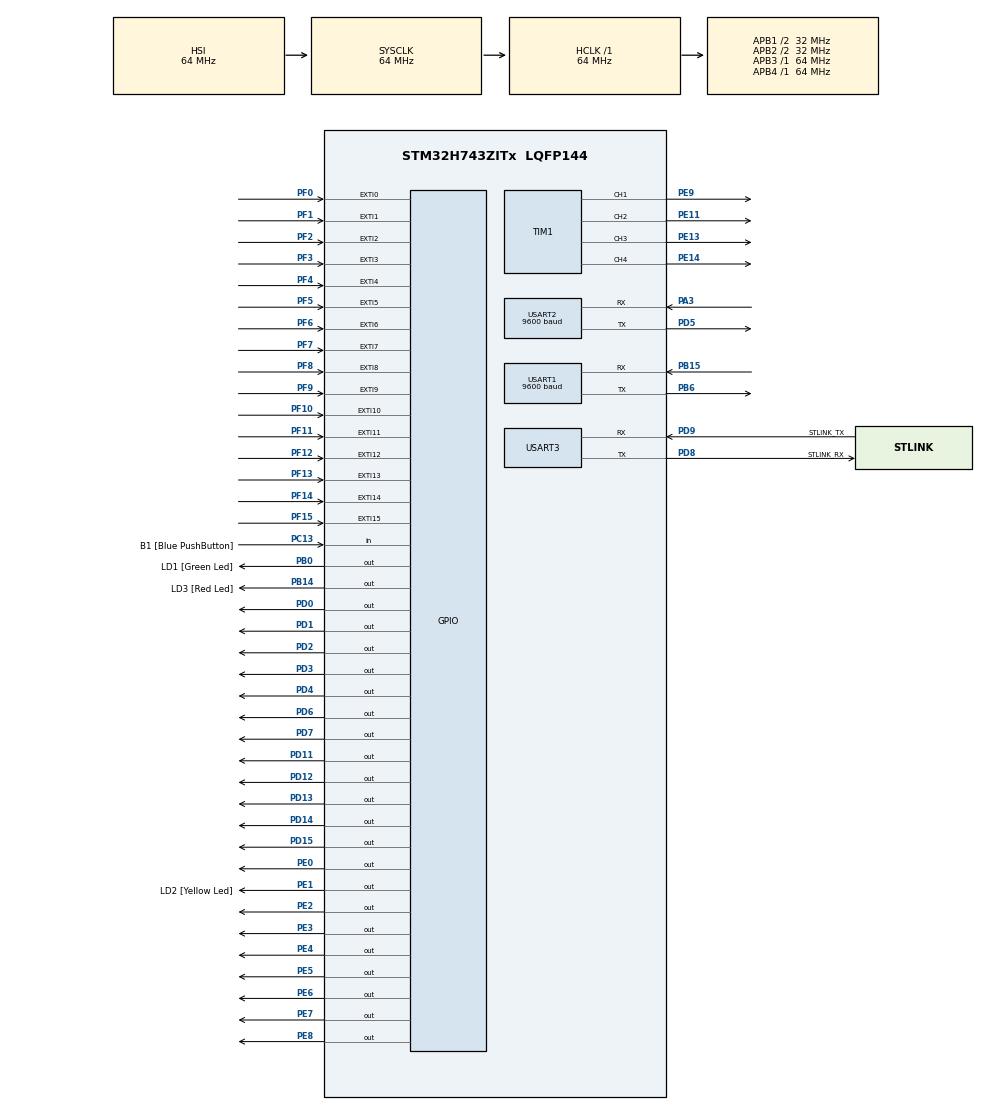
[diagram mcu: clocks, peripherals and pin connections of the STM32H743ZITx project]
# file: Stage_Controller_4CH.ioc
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Mcu.Family=STM32H7
Mcu.Name=STM32H743ZITx
Mcu.Package=LQFP144
NVIC.EXTI0_IRQn=true\:0\:0\:false\:false\:true\:true\:true\:true
NVIC.EXTI15_10_IRQn=true\:0\:0\:true\:false\:true\:true\:true\:true
NVIC.EXTI1_IRQn=true\:0\:0\:true\:false\:true\:true\:true\:true
NVIC.EXTI2_IRQn=true\:0\:0\:false\:false\:true\:true\:true\:true
NVIC.EXTI3_IRQn=true\:0\:0\:false\:false\:true\:true\:true\:true
NVIC.EXTI4_IRQn=true\:0\:0\:false\:false\:true\:true\:true\:true
NVIC.EXTI9_5_IRQn=true\:0\:0\:false\:false\:true\:true\:true\:true
NVIC.PriorityGroup=NVIC_PRIORITYGROUP_4
NVIC.TIM1_CC_IRQn=true\:1\:0\:true\:false\:true\:true\:true\:true
NVIC.USART1_IRQn=true\:13\:0\:true\:false\:true\:true\:true\:true
NVIC.USART2_IRQn=true\:14\:0\:true\:false\:true\:true\:true\:true
NVIC.USART3_IRQn=true\:15\:0\:true\:false\:true\:true\:true\:true
PA1.Signal=ETH_REF_CLK
PA13\ (JTMS/SWDIO).GPIO_Label=JTMS
PA13\ (JTMS/SWDIO).Signal=DEBUG_JTMS-SWDIO
PA14\ (JTCK/SWCLK).GPIO_Label=JTCK
PA14\ (JTCK/SWCLK).Signal=DEBUG_JTCK-SWCLK
PA2.Signal=ETH_MDIO
PA3.GPIO_PuPd=GPIO_PULLUP
PA3.GPIO_Speed=GPIO_SPEED_FREQ_VERY_HIGH
PA3.Mode=Asynchronous
PA3.Signal=USART2_RX
PA7.Signal=ETH_CRS_DV
PB0.GPIO_Label=LD1 [Green Led]
PB0.Signal=GPIO_Output
PB13.Signal=ETH_TXD1
PB14.GPIO_Label=LD3 [Red Led]
PB14.Signal=GPIO_Output
PB15.GPIO_PuPd=GPIO_PULLUP
PB15.GPIO_Speed=GPIO_SPEED_FREQ_VERY_HIGH
PB15.Mode=Asynchronous
PB15.Signal=USART1_RX
PB6.GPIO_FM6=SYSCFG_PMCR_I2C_PB6_FMP
PB6.GPIO_PuPd=GPIO_PULLUP
PB6.GPIO_Speed=GPIO_SPEED_FREQ_VERY_HIGH
PB6.Mode=Asynchronous
PB6.Signal=USART1_TX
PC1.Signal=ETH_MDC
PC13.GPIO_Label=B1 [Blue PushButton]
PC13.Signal=GPIO_Input
PC14-OSC32_IN\ (OSC32_IN).Signal=RCC_OSC32_IN
PC15-OSC32_OUT\ (OSC32_OUT).Signal=RCC_OSC32_OUT
PC4.Signal=ETH_RXD0
PC5.Signal=ETH_RXD1
PD0.GPIO_PuPd=GPIO_PULLDOWN
PD0.Signal=GPIO_Output
PD1.GPIO_PuPd=GPIO_PULLDOWN
PD1.Signal=GPIO_Output
PD11.Signal=GPIO_Output
PD12.Signal=GPIO_Output
PD13.Signal=GPIO_Output
PD14.Signal=GPIO_Output
PD15.Signal=GPIO_Output
PD2.GPIO_PuPd=GPIO_PULLDOWN
PD2.Signal=GPIO_Output
PD3.GPIO_PuPd=GPIO_PULLDOWN
PD3.Signal=GPIO_Output
PD4.Signal=GPIO_Output
PD5.GPIO_PuPd=GPIO_PULLUP
PD5.GPIO_Speed=GPIO_SPEED_FREQ_VERY_HIGH
PD5.Mode=Asynchronous
PD5.Signal=USART2_TX
PD6.Signal=GPIO_Output
PD7.Signal=GPIO_Output
PD8.GPIO_Label=STLINK_RX
PD8.GPIO_PuPd=GPIO_PULLUP
PD8.GPIO_Speed=GPIO_SPEED_FREQ_VERY_HIGH
PD8.Mode=Asynchronous
PD8.Signal=USART3_TX
PD9.GPIO_Label=STLINK_TX
PD9.GPIO_PuPd=GPIO_PULLUP
PD9.GPIO_Speed=GPIO_SPEED_FREQ_VERY_HIGH
PD9.Mode=Asynchronous
PD9.Signal=USART3_RX
PE0.Signal=GPIO_Output
PE1.GPIO_Label=LD2 [Yellow Led]
PE1.Signal=GPIO_Output
PE11.Signal=S_TIM1_CH2
PE13.Signal=S_TIM1_CH3
PE14.Signal=S_TIM1_CH4
PE2.Signal=GPIO_Output
PE3.Signal=GPIO_Output
PE4.Signal=GPIO_Output
PE5.Signal=GPIO_Output
PE6.Signal=GPIO_Output
PE7.Signal=GPIO_Output
PE8.Signal=GPIO_Output
PE9.Signal=S_TIM1_CH1
PF0.GPIO_ModeDefaultEXTI=GPIO_MODE_IT_FALLING
PF0.GPIO_PuPd=GPIO_PULLUP
PF0.Signal=GPXTI0
PF1.GPIO_ModeDefaultEXTI=GPIO_MODE_IT_FALLING
PF1.GPIO_PuPd=GPIO_PULLUP
PF1.Signal=GPXTI1
PF10.GPIO_PuPd=GPIO_PULLUP
PF10.Signal=GPXTI10
PF11.GPIO_PuPd=GPIO_PULLUP
PF11.Signal=GPXTI11
PF12.GPIO_PuPd=GPIO_PULLUP
PF12.Signal=GPXTI12
PF13.GPIO_PuPd=GPIO_PULLUP
PF13.Signal=GPXTI13
PF14.GPIO_PuPd=GPIO_PULLUP
PF14.Signal=GPXTI14
PF15.GPIO_PuPd=GPIO_PULLUP
PF15.Signal=GPXTI15
PF2.GPIO_ModeDefaultEXTI=GPIO_MODE_IT_FALLING
PF2.GPIO_PuPd=GPIO_PULLUP
PF2.Signal=GPXTI2
PF3.GPIO_ModeDefaultEXTI=GPIO_MODE_IT_FALLING
PF3.GPIO_PuPd=GPIO_PULLUP
PF3.Signal=GPXTI3
PF4.GPIO_PuPd=GPIO_PULLUP
PF4.Signal=GPXTI4
PF5.GPIO_PuPd=GPIO_PULLUP
PF5.Signal=GPXTI5
PF6.GPIO_PuPd=GPIO_PULLUP
PF6.Signal=GPXTI6
PF7.GPIO_PuPd=GPIO_PULLUP
PF7.Signal=GPXTI7
PF8.GPIO_PuPd=GPIO_PULLUP
PF8.Signal=GPXTI8
PF9.GPIO_PuPd=GPIO_PULLUP
PF9.Signal=GPXTI9
PG11.Signal=ETH_TX_EN
PG13.Signal=ETH_TXD0
PH0-OSC_IN\ (PH0).Signal=RCC_OSC_IN
PH1-OSC_OUT\ (PH1).Signal=RCC_OSC_OUT
ProjectManager.HeapSize=0x200
ProjectManager.StackSize=0x400
ProjectManager.TargetToolchain=STM32CubeIDE
RCC.ADCFreq_Value=129000000
RCC.APB1Freq_Value=32000000
RCC.APB2Freq_Value=32000000
RCC.APB3Freq_Value=64000000
RCC.APB4Freq_Value=64000000
RCC.CortexFreq_Value=64000000
RCC.D2PPRE1=RCC_APB1_DIV2
RCC.D2PPRE2=RCC_APB2_DIV2
RCC.HCLKFreq_Value=64000000
RCC.SYSCLKFreq_VALUE=64000000
RCC.USBFreq_Value=129000000
SH.S_TIM1_CH1.0=TIM1_CH1,Output Compare1 CH1
SH.S_TIM1_CH2.0=TIM1_CH2,Output Compare2 CH2
SH.S_TIM1_CH3.0=TIM1_CH3,Output Compare3 CH3
SH.S_TIM1_CH4.0=TIM1_CH4,Output Compare4 CH4
TIM1.Channel-Output\ Compare1\ CH1=TIM_CHANNEL_1
TIM1.Channel-Output\ Compare2\ CH2=TIM_CHANNEL_2
TIM1.Channel-Output\ Compare3\ CH3=TIM_CHANNEL_3
TIM1.Channel-Output\ Compare4\ CH4=TIM_CHANNEL_4
TIM1.OCMode_1=TIM_OCMODE_TOGGLE
TIM1.OCMode_2=TIM_OCMODE_TOGGLE
TIM1.OCMode_3=TIM_OCMODE_TOGGLE
TIM1.OCMode_4=TIM_OCMODE_TOGGLE
TIM5.CounterMode=TIM_COUNTERMODE_DOWN
USART1.BaudRate=9600
USART1.VirtualMode-Asynchronous=VM_ASYNC
USART2.BaudRate=9600
USART2.VirtualMode-Asynchronous=VM_ASYNC
USART3.VirtualMode-Asynchronous=VM_ASYNC
VP_TIM1_VS_ClockSourceINT.Mode=Internal
VP_TIM5_VS_ClockSourceINT.Mode=Internal
board=NUCLEO-H743ZI2

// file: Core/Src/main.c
/* USER CODE BEGIN Header */
/**
  ******************************************************************************
  * @file           : main.c
  * @brief          : Main program body
  ******************************************************************************
  * @attention
  *
  * Copyright (c) 2023 STMicroelectronics.
  * All rights reserved.
  *
  * This software is licensed under terms that can be found in the LICENSE file
  * in the root directory of this software component.
  * If no LICENSE file comes with this software, it is provided AS-IS.
  *
  ******************************************************************************
  */
/* USER CODE END Header */
#include "main.h"

/* USER CODE BEGIN Includes */
#include <stdio.h>

/* USER CODE END Includes */

TIM_HandleTypeDef htim1;
TIM_HandleTypeDef htim5;

UART_HandleTypeDef huart1;
UART_HandleTypeDef huart2;
UART_HandleTypeDef huart3;

/* USER CODE BEGIN PV */
SysVarType SysVar = {
	"100241120", //char ver[16];
	STATE_STANDBY, //uint8_t state;
	0, //uint8_t secFlag;
	0, //uint8_t dsecFlag;
	0, //uint8_t csecFlag;
	0, //uint8_t msecFlag;
	0, //uint32_t secCount;
	0, //uint32_t dsecCount;
	0, //uint32_t csecCount;
	0, //uint32_t msecCount;
	0, //uint32_t time;
	0, //uint32_t error;
	{ {0,}, }, //StpMotorType m[STP_MOTOR_CH_NUM];
};

ParamVarType ParamVar = {
	{
		{
			0, //uint8_t num;
			4.0L, //double vMax;
			0.05L, //double vMin;
			0.0002L, //double r;
			0.05L, //double ta;
		}, // StpMotorParamType mp[0];
		{
			1, //uint8_t num;
			4.0L, //double vMax;
			0.05L, //double vMin;
			0.0002L, //double r;
			0.05L, //double ta;
		}, // StpMotorParamType mp[1];
		{
			2, //uint8_t num;
			4.0L, //double vMax;
			0.05L, //double vMin;
			0.0002L, //double r;
			0.05L, //double ta;
		}, // StpMotorParamType mp[2];
		{
			3, //uint8_t num;
			4.0L, //double vMax;
			0.05L, //double vMin;
			0.0002L, //double r;
			0.05L, //double ta;
		}, // StpMotorParamType mp[3];
	},
	{ 1, 1, 1, 0 },
};

uint32_t ccr_monitor[2][CCR_MONITOR_MAX] = { {0, }, {0, } };
int ccr_monitor_idx[2] = { 0, 0 };

/* USER CODE END PV */

void SystemClock_Config(void);
static void MX_GPIO_Init(void);
static void MX_USART1_UART_Init(void);
static void MX_USART2_UART_Init(void);
static void MX_USART3_UART_Init(void);
static void MX_TIM1_Init(void);
static void MX_TIM5_Init(void);
/* USER CODE BEGIN PFP */
void System_Init(void);

/* USER CODE END PFP */

int main(void)
{

  /* MCU Configuration--------------------------------------------------------*/

  /* Reset of all peripherals, Initializes the Flash interface and the Systick. */
  HAL_Init();

  /* Configure the system clock */
  SystemClock_Config();

  /* Initialize all configured peripherals */
  MX_GPIO_Init();
  MX_USART1_UART_Init();
  MX_USART2_UART_Init();
  MX_USART3_UART_Init();
  MX_TIM1_Init();
  MX_TIM5_Init();
  /* USER CODE BEGIN 2 */

  System_Init();

//  COMM_Print(&huart1, "COMMAND Start\r\n");
//  COMM_Print(&huart2, "CONSOLE Start\r\n");
  COMM_Print(&huart3, "***** Stage Controller %s *****\r\n", SysVar.ver);
  /* USER CODE END 2 */

  /* Infinite loop */
  /* USER CODE BEGIN WHILE */
  while (1)
  {
	switch(SysVar.state)
	{
		case STATE_STANDBY:
			if(Op_Standby(0))
				Op_Standby(0);
			break;
		case STATE_COMMAND:
			if(Op_Command(0))
				Op_Standby(1);
			break;
		case STATE_MOTOR_ORIGIN:
			if(Op_MotorOrigin(0))
				if(Op_Command(0))
					Op_Standby(1);
			break;
		case STATE_MOTOR_MOVE_FAST:
			if(Op_MotorMoveFast(0, NULL, NULL))
				if(Op_Command(0))
					Op_Standby(1);
			break;
		case STATE_MOTOR_MOVE_LINE:
			if(Op_MotorMoveLine(0, NULL, NULL, NULL))
				if(Op_Command(0))
					Op_Standby(1);
			break;
		default:
			Op_Standby(1);
	}
	if(SysVar.secFlag)
	{
		SysVar.secFlag = 0;
	}
	if( (comm_bufIdxH-comm_bufIdxT+MAX_BUFFER_SIZE) % MAX_BUFFER_SIZE > 0 )
	{
		COMM_G_CMD(&huart1, comm_buf[comm_bufIdxT]);
		comm_bufIdxT = (comm_bufIdxT+1) % MAX_BUFFER_SIZE;
	}
	/* USER CODE END WHILE */

  }
}

void SystemClock_Config(void)
{
  RCC_OscInitTypeDef RCC_OscInitStruct = {0};
  RCC_ClkInitTypeDef RCC_ClkInitStruct = {0};

  /** Supply configuration update enable
  */
  HAL_PWREx_ConfigSupply(PWR_LDO_SUPPLY);

  /** Configure the main internal regulator output voltage
  */
  __HAL_PWR_VOLTAGESCALING_CONFIG(PWR_REGULATOR_VOLTAGE_SCALE3);

  while(!__HAL_PWR_GET_FLAG(PWR_FLAG_VOSRDY)) {}

  /** Initializes the RCC Oscillators according to the specified parameters
  * in the RCC_OscInitTypeDef structure.
  */
  RCC_OscInitStruct.OscillatorType = RCC_OSCILLATORTYPE_HSI;
  RCC_OscInitStruct.HSIState = RCC_HSI_DIV1;
  RCC_OscInitStruct.HSICalibrationValue = RCC_HSICALIBRATION_DEFAULT;
  RCC_OscInitStruct.PLL.PLLState = RCC_PLL_NONE;
  if (HAL_RCC_OscConfig(&RCC_OscInitStruct) != HAL_OK)
  {
    Error_Handler();
  }

  /** Initializes the CPU, AHB and APB buses clocks
  */
  RCC_ClkInitStruct.ClockType = RCC_CLOCKTYPE_HCLK|RCC_CLOCKTYPE_SYSCLK
                              |RCC_CLOCKTYPE_PCLK1|RCC_CLOCKTYPE_PCLK2
                              |RCC_CLOCKTYPE_D3PCLK1|RCC_CLOCKTYPE_D1PCLK1;
  RCC_ClkInitStruct.SYSCLKSource = RCC_SYSCLKSOURCE_HSI;
  RCC_ClkInitStruct.SYSCLKDivider = RCC_SYSCLK_DIV1;
  RCC_ClkInitStruct.AHBCLKDivider = RCC_HCLK_DIV1;
  RCC_ClkInitStruct.APB3CLKDivider = RCC_APB3_DIV1;
  RCC_ClkInitStruct.APB1CLKDivider = RCC_APB1_DIV2;
  RCC_ClkInitStruct.APB2CLKDivider = RCC_APB2_DIV2;
  RCC_ClkInitStruct.APB4CLKDivider = RCC_APB4_DIV1;

  if (HAL_RCC_ClockConfig(&RCC_ClkInitStruct, FLASH_LATENCY_1) != HAL_OK)
  {
    Error_Handler();
  }
}

static void MX_TIM1_Init(void)
{

  TIM_ClockConfigTypeDef sClockSourceConfig = {0};
  TIM_MasterConfigTypeDef sMasterConfig = {0};
  TIM_OC_InitTypeDef sConfigOC = {0};
  TIM_BreakDeadTimeConfigTypeDef sBreakDeadTimeConfig = {0};

  htim1.Instance = TIM1;
  htim1.Init.Prescaler = 0;
  htim1.Init.CounterMode = TIM_COUNTERMODE_UP;
  htim1.Init.Period = 65535;
  htim1.Init.ClockDivision = TIM_CLOCKDIVISION_DIV1;
  htim1.Init.RepetitionCounter = 0;
  htim1.Init.AutoReloadPreload = TIM_AUTORELOAD_PRELOAD_DISABLE;
  if (HAL_TIM_Base_Init(&htim1) != HAL_OK)
  {
    Error_Handler();
  }
  sClockSourceConfig.ClockSource = TIM_CLOCKSOURCE_INTERNAL;
  if (HAL_TIM_ConfigClockSource(&htim1, &sClockSourceConfig) != HAL_OK)
  {
    Error_Handler();
  }
  if (HAL_TIM_OC_Init(&htim1) != HAL_OK)
  {
    Error_Handler();
  }
  sMasterConfig.MasterOutputTrigger = TIM_TRGO_RESET;
  sMasterConfig.MasterOutputTrigger2 = TIM_TRGO2_RESET;
  sMasterConfig.MasterSlaveMode = TIM_MASTERSLAVEMODE_DISABLE;
  if (HAL_TIMEx_MasterConfigSynchronization(&htim1, &sMasterConfig) != HAL_OK)
  {
    Error_Handler();
  }
  sConfigOC.OCMode = TIM_OCMODE_TOGGLE;
  sConfigOC.Pulse = 0;
  sConfigOC.OCPolarity = TIM_OCPOLARITY_HIGH;
  sConfigOC.OCNPolarity = TIM_OCNPOLARITY_HIGH;
  sConfigOC.OCFastMode = TIM_OCFAST_DISABLE;
  sConfigOC.OCIdleState = TIM_OCIDLESTATE_RESET;
  sConfigOC.OCNIdleState = TIM_OCNIDLESTATE_RESET;
  if (HAL_TIM_OC_ConfigChannel(&htim1, &sConfigOC, TIM_CHANNEL_1) != HAL_OK)
  {
    Error_Handler();
  }
  if (HAL_TIM_OC_ConfigChannel(&htim1, &sConfigOC, TIM_CHANNEL_2) != HAL_OK)
  {
    Error_Handler();
  }
  if (HAL_TIM_OC_ConfigChannel(&htim1, &sConfigOC, TIM_CHANNEL_3) != HAL_OK)
  {
    Error_Handler();
  }
  if (HAL_TIM_OC_ConfigChannel(&htim1, &sConfigOC, TIM_CHANNEL_4) != HAL_OK)
  {
    Error_Handler();
  }
  sBreakDeadTimeConfig.OffStateRunMode = TIM_OSSR_DISABLE;
  sBreakDeadTimeConfig.OffStateIDLEMode = TIM_OSSI_DISABLE;
  sBreakDeadTimeConfig.LockLevel = TIM_LOCKLEVEL_OFF;
  sBreakDeadTimeConfig.DeadTime = 0;
  sBreakDeadTimeConfig.BreakState = TIM_BREAK_DISABLE;
  sBreakDeadTimeConfig.BreakPolarity = TIM_BREAKPOLARITY_HIGH;
  sBreakDeadTimeConfig.BreakFilter = 0;
  sBreakDeadTimeConfig.Break2State = TIM_BREAK2_DISABLE;
  sBreakDeadTimeConfig.Break2Polarity = TIM_BREAK2POLARITY_HIGH;
  sBreakDeadTimeConfig.Break2Filter = 0;
  sBreakDeadTimeConfig.AutomaticOutput = TIM_AUTOMATICOUTPUT_DISABLE;
  if (HAL_TIMEx_ConfigBreakDeadTime(&htim1, &sBreakDeadTimeConfig) != HAL_OK)
  {
    Error_Handler();
  }
  HAL_TIM_MspPostInit(&htim1);

}

static void MX_TIM5_Init(void)
{

  TIM_ClockConfigTypeDef sClockSourceConfig = {0};
  TIM_MasterConfigTypeDef sMasterConfig = {0};

  htim5.Instance = TIM5;
  htim5.Init.Prescaler = 0;
  htim5.Init.CounterMode = TIM_COUNTERMODE_DOWN;
  htim5.Init.Period = 4294967295;
  htim5.Init.ClockDivision = TIM_CLOCKDIVISION_DIV1;
  htim5.Init.AutoReloadPreload = TIM_AUTORELOAD_PRELOAD_DISABLE;
  if (HAL_TIM_Base_Init(&htim5) != HAL_OK)
  {
    Error_Handler();
  }
  sClockSourceConfig.ClockSource = TIM_CLOCKSOURCE_INTERNAL;
  if (HAL_TIM_ConfigClockSource(&htim5, &sClockSourceConfig) != HAL_OK)
  {
    Error_Handler();
  }
  sMasterConfig.MasterOutputTrigger = TIM_TRGO_RESET;
  sMasterConfig.MasterSlaveMode = TIM_MASTERSLAVEMODE_DISABLE;
  if (HAL_TIMEx_MasterConfigSynchronization(&htim5, &sMasterConfig) != HAL_OK)
  {
    Error_Handler();
  }

}

static void MX_USART1_UART_Init(void)
{

  huart1.Instance = USART1;
  huart1.Init.BaudRate = 9600;
  huart1.Init.WordLength = UART_WORDLENGTH_8B;
  huart1.Init.StopBits = UART_STOPBITS_1;
  huart1.Init.Parity = UART_PARITY_NONE;
  huart1.Init.Mode = UART_MODE_TX_RX;
  huart1.Init.HwFlowCtl = UART_HWCONTROL_NONE;
  huart1.Init.OverSampling = UART_OVERSAMPLING_16;
  huart1.Init.OneBitSampling = UART_ONE_BIT_SAMPLE_DISABLE;
  huart1.Init.ClockPrescaler = UART_PRESCALER_DIV1;
  huart1.AdvancedInit.AdvFeatureInit = UART_ADVFEATURE_NO_INIT;
  if (HAL_UART_Init(&huart1) != HAL_OK)
  {
    Error_Handler();
  }
  if (HAL_UARTEx_SetTxFifoThreshold(&huart1, UART_TXFIFO_THRESHOLD_1_8) != HAL_OK)
  {
    Error_Handler();
  }
  if (HAL_UARTEx_SetRxFifoThreshold(&huart1, UART_RXFIFO_THRESHOLD_1_8) != HAL_OK)
  {
    Error_Handler();
  }
  if (HAL_UARTEx_DisableFifoMode(&huart1) != HAL_OK)
  {
    Error_Handler();
  }

}

static void MX_USART2_UART_Init(void)
{

  huart2.Instance = USART2;
  huart2.Init.BaudRate = 9600;
  huart2.Init.WordLength = UART_WORDLENGTH_8B;
  huart2.Init.StopBits = UART_STOPBITS_1;
  huart2.Init.Parity = UART_PARITY_NONE;
  huart2.Init.Mode = UART_MODE_TX_RX;
  huart2.Init.HwFlowCtl = UART_HWCONTROL_NONE;
  huart2.Init.OverSampling = UART_OVERSAMPLING_16;
  huart2.Init.OneBitSampling = UART_ONE_BIT_SAMPLE_DISABLE;
  huart2.Init.ClockPrescaler = UART_PRESCALER_DIV1;
  huart2.AdvancedInit.AdvFeatureInit = UART_ADVFEATURE_NO_INIT;
  if (HAL_UART_Init(&huart2) != HAL_OK)
  {
    Error_Handler();
  }
  if (HAL_UARTEx_SetTxFifoThreshold(&huart2, UART_TXFIFO_THRESHOLD_1_8) != HAL_OK)
  {
    Error_Handler();
  }
  if (HAL_UARTEx_SetRxFifoThreshold(&huart2, UART_RXFIFO_THRESHOLD_1_8) != HAL_OK)
  {
    Error_Handler();
  }
  if (HAL_UARTEx_DisableFifoMode(&huart2) != HAL_OK)
  {
    Error_Handler();
  }

}

static void MX_USART3_UART_Init(void)
{

  huart3.Instance = USART3;
  huart3.Init.BaudRate = 115200;
  huart3.Init.WordLength = UART_WORDLENGTH_8B;
  huart3.Init.StopBits = UART_STOPBITS_1;
  huart3.Init.Parity = UART_PARITY_NONE;
  huart3.Init.Mode = UART_MODE_TX_RX;
  huart3.Init.HwFlowCtl = UART_HWCONTROL_NONE;
  huart3.Init.OverSampling = UART_OVERSAMPLING_16;
  huart3.Init.OneBitSampling = UART_ONE_BIT_SAMPLE_DISABLE;
  huart3.Init.ClockPrescaler = UART_PRESCALER_DIV1;
  huart3.AdvancedInit.AdvFeatureInit = UART_ADVFEATURE_NO_INIT;
  if (HAL_UART_Init(&huart3) != HAL_OK)
  {
    Error_Handler();
  }
  if (HAL_UARTEx_SetTxFifoThreshold(&huart3, UART_TXFIFO_THRESHOLD_1_8) != HAL_OK)
  {
    Error_Handler();
  }
  if (HAL_UARTEx_SetRxFifoThreshold(&huart3, UART_RXFIFO_THRESHOLD_1_8) != HAL_OK)
  {
    Error_Handler();
  }
  if (HAL_UARTEx_DisableFifoMode(&huart3) != HAL_OK)
  {
    Error_Handler();
  }

}

static void MX_GPIO_Init(void)
{
  GPIO_InitTypeDef GPIO_InitStruct = {0};

  /* GPIO Ports Clock Enable */
  __HAL_RCC_GPIOE_CLK_ENABLE();
  __HAL_RCC_GPIOC_CLK_ENABLE();
  __HAL_RCC_GPIOF_CLK_ENABLE();
  __HAL_RCC_GPIOH_CLK_ENABLE();
  __HAL_RCC_GPIOA_CLK_ENABLE();
  __HAL_RCC_GPIOB_CLK_ENABLE();
  __HAL_RCC_GPIOD_CLK_ENABLE();
  __HAL_RCC_GPIOG_CLK_ENABLE();

  /*Configure GPIO pin Output Level */
  HAL_GPIO_WritePin(GPIOE, GPIO_PIN_2|GPIO_PIN_3|GPIO_PIN_4|GPIO_PIN_5
                          |GPIO_PIN_6|GPIO_PIN_7|GPIO_PIN_8|GPIO_PIN_0
                          |LD2_Pin, GPIO_PIN_RESET);

  /*Configure GPIO pin Output Level */
  HAL_GPIO_WritePin(GPIOB, LD1_Pin|LD3_Pin, GPIO_PIN_RESET);

  /*Configure GPIO pin Output Level */
  HAL_GPIO_WritePin(GPIOD, GPIO_PIN_11|GPIO_PIN_12|GPIO_PIN_13|GPIO_PIN_14
                          |GPIO_PIN_15|GPIO_PIN_0|GPIO_PIN_1|GPIO_PIN_2
                          |GPIO_PIN_3|GPIO_PIN_4|GPIO_PIN_6|GPIO_PIN_7, GPIO_PIN_RESET);

  /*Configure GPIO pins : PE2 PE3 PE4 PE5
                           PE6 PE7 PE8 PE0
                           LD2_Pin */
  GPIO_InitStruct.Pin = GPIO_PIN_2|GPIO_PIN_3|GPIO_PIN_4|GPIO_PIN_5
                          |GPIO_PIN_6|GPIO_PIN_7|GPIO_PIN_8|GPIO_PIN_0
                          |LD2_Pin;
  GPIO_InitStruct.Mode = GPIO_MODE_OUTPUT_PP;
  GPIO_InitStruct.Pull = GPIO_NOPULL;
  GPIO_InitStruct.Speed = GPIO_SPEED_FREQ_LOW;
  HAL_GPIO_Init(GPIOE, &GPIO_InitStruct);

  /*Configure GPIO pin : B1_Pin */
  GPIO_InitStruct.Pin = B1_Pin;
  GPIO_InitStruct.Mode = GPIO_MODE_INPUT;
  GPIO_InitStruct.Pull = GPIO_NOPULL;
  HAL_GPIO_Init(B1_GPIO_Port, &GPIO_InitStruct);

  /*Configure GPIO pins : PF0 PF1 PF2 PF3 */
  GPIO_InitStruct.Pin = GPIO_PIN_0|GPIO_PIN_1|GPIO_PIN_2|GPIO_PIN_3;
  GPIO_InitStruct.Mode = GPIO_MODE_IT_FALLING;
  GPIO_InitStruct.Pull = GPIO_PULLUP;
  HAL_GPIO_Init(GPIOF, &GPIO_InitStruct);

  /*Configure GPIO pins : PF4 PF5 PF6 PF7
                           PF8 PF9 PF10 PF11
                           PF12 PF13 PF14 PF15 */
  GPIO_InitStruct.Pin = GPIO_PIN_4|GPIO_PIN_5|GPIO_PIN_6|GPIO_PIN_7
                          |GPIO_PIN_8|GPIO_PIN_9|GPIO_PIN_10|GPIO_PIN_11
                          |GPIO_PIN_12|GPIO_PIN_13|GPIO_PIN_14|GPIO_PIN_15;
  GPIO_InitStruct.Mode = GPIO_MODE_IT_RISING;
  GPIO_InitStruct.Pull = GPIO_PULLUP;
  HAL_GPIO_Init(GPIOF, &GPIO_InitStruct);

  /*Configure GPIO pins : PC1 PC4 PC5 */
  GPIO_InitStruct.Pin = GPIO_PIN_1|GPIO_PIN_4|GPIO_PIN_5;
  GPIO_InitStruct.Mode = GPIO_MODE_AF_PP;
  GPIO_InitStruct.Pull = GPIO_NOPULL;
  GPIO_InitStruct.Speed = GPIO_SPEED_FREQ_LOW;
  GPIO_InitStruct.Alternate = GPIO_AF11_ETH;
  HAL_GPIO_Init(GPIOC, &GPIO_InitStruct);

  /*Configure GPIO pins : PA1 PA2 PA7 */
  GPIO_InitStruct.Pin = GPIO_PIN_1|GPIO_PIN_2|GPIO_PIN_7;
  GPIO_InitStruct.Mode = GPIO_MODE_AF_PP;
  GPIO_InitStruct.Pull = GPIO_NOPULL;
  GPIO_InitStruct.Speed = GPIO_SPEED_FREQ_LOW;
  GPIO_InitStruct.Alternate = GPIO_AF11_ETH;
  HAL_GPIO_Init(GPIOA, &GPIO_InitStruct);

  /*Configure GPIO pins : LD1_Pin LD3_Pin */
  GPIO_InitStruct.Pin = LD1_Pin|LD3_Pin;
  GPIO_InitStruct.Mode = GPIO_MODE_OUTPUT_PP;
  GPIO_InitStruct.Pull = GPIO_NOPULL;
  GPIO_InitStruct.Speed = GPIO_SPEED_FREQ_LOW;
  HAL_GPIO_Init(GPIOB, &GPIO_InitStruct);

  /*Configure GPIO pin : PB13 */
  GPIO_InitStruct.Pin = GPIO_PIN_13;
  GPIO_InitStruct.Mode = GPIO_MODE_AF_PP;
  GPIO_InitStruct.Pull = GPIO_NOPULL;
  GPIO_InitStruct.Speed = GPIO_SPEED_FREQ_LOW;
  GPIO_InitStruct.Alternate = GPIO_AF11_ETH;
  HAL_GPIO_Init(GPIOB, &GPIO_InitStruct);

  /*Configure GPIO pins : PD11 PD12 PD13 PD14
                           PD15 PD4 PD6 PD7 */
  GPIO_InitStruct.Pin = GPIO_PIN_11|GPIO_PIN_12|GPIO_PIN_13|GPIO_PIN_14
                          |GPIO_PIN_15|GPIO_PIN_4|GPIO_PIN_6|GPIO_PIN_7;
  GPIO_InitStruct.Mode = GPIO_MODE_OUTPUT_PP;
  GPIO_InitStruct.Pull = GPIO_NOPULL;
  GPIO_InitStruct.Speed = GPIO_SPEED_FREQ_LOW;
  HAL_GPIO_Init(GPIOD, &GPIO_InitStruct);

  /*Configure GPIO pins : PD0 PD1 PD2 PD3 */
  GPIO_InitStruct.Pin = GPIO_PIN_0|GPIO_PIN_1|GPIO_PIN_2|GPIO_PIN_3;
  GPIO_InitStruct.Mode = GPIO_MODE_OUTPUT_PP;
  GPIO_InitStruct.Pull = GPIO_PULLDOWN;
  GPIO_InitStruct.Speed = GPIO_SPEED_FREQ_LOW;
  HAL_GPIO_Init(GPIOD, &GPIO_InitStruct);

  /*Configure GPIO pins : PG11 PG13 */
  GPIO_InitStruct.Pin = GPIO_PIN_11|GPIO_PIN_13;
  GPIO_InitStruct.Mode = GPIO_MODE_AF_PP;
  GPIO_InitStruct.Pull = GPIO_NOPULL;
  GPIO_InitStruct.Speed = GPIO_SPEED_FREQ_LOW;
  GPIO_InitStruct.Alternate = GPIO_AF11_ETH;
  HAL_GPIO_Init(GPIOG, &GPIO_InitStruct);

  /* EXTI interrupt init*/
  HAL_NVIC_SetPriority(EXTI0_IRQn, 0, 0);
  HAL_NVIC_EnableIRQ(EXTI0_IRQn);

  HAL_NVIC_SetPriority(EXTI1_IRQn, 0, 0);
  HAL_NVIC_EnableIRQ(EXTI1_IRQn);

  HAL_NVIC_SetPriority(EXTI2_IRQn, 0, 0);
  HAL_NVIC_EnableIRQ(EXTI2_IRQn);

  HAL_NVIC_SetPriority(EXTI3_IRQn, 0, 0);
  HAL_NVIC_EnableIRQ(EXTI3_IRQn);

  HAL_NVIC_SetPriority(EXTI4_IRQn, 0, 0);
  HAL_NVIC_EnableIRQ(EXTI4_IRQn);

  HAL_NVIC_SetPriority(EXTI9_5_IRQn, 0, 0);
  HAL_NVIC_EnableIRQ(EXTI9_5_IRQn);

  HAL_NVIC_SetPriority(EXTI15_10_IRQn, 0, 0);
  HAL_NVIC_EnableIRQ(EXTI15_10_IRQn);

}

/* USER CODE BEGIN 4 */
void System_Init(void)
{
	int i;
	for(i = 0; i < STP_MOTOR_CH_NUM; i++)
	{
		StpMotorType* m = &(SysVar.m[i]);
		m->clk = SystemD2Clock / (htim1.Init.Prescaler+1);
		m->param = &(ParamVar.mp[i]);
		m->fMax = m->param->vMax / m->param->r;
		m->fMin = m->param->vMin / m->param->r;
		m->acc = (m->param->vMax - m->param->vMin) / m->param->ta;
		m->pMax = (uint16_t)(m->clk / m->fMax / 2.0);
		m->pMin = (uint16_t)(m->clk / m->fMin / 2.0);
		m->A = 2*m->acc / (m->param->r * m->clk * m-> clk);
		m->B = (double)m->pMin * m->pMin;
		m->Bp = 4.0L * m->B * m->acc / m->clk / m->clk / m->param->r;

		m->en = 0;
		m->dir = 0;
		m->pos = 0;
		m->targPos = 0;
		m->startPos = 0;
		m->spd = 0.0;
		m->targPulse = 0.0;
		m->pulseD = 0.0;
		m->pulse = 0;
		m->next_ccr = 0;
		m->stop = 1;
		m->mode = STP_MODE_MANUAL;

		Print(">> Motor %d Initialize\r\n", m->param->num);
		Print("- Max Speed: %.4lf [mm/sec]\r\n", m->param->vMax);
		Print("- Min Speed: %.4lf [mm/sec]\r\n", m->param->vMin);
		Print("- Pitch Ratio: %.4lf [mm/pulse]\r\n", m->param->r);
		Print("- Acceleration Time: %.4lf [sec]\r\n", m->param->ta);
		Print("- Timer Clock: %.0lf [kHz]\r\n", m->clk/1000.0);
		Print("- Max Speed Frequency: %.0lf [Hz]\r\n", m->fMax);
		Print("- Min Speed Frequency: %.0lf [Hz]\r\n", m->fMin);
		Print("- Acceleration Slope: %.3lf [mm/sec^2]\r\n", m->acc);
		Print("- Max Speed Timer Period: %d [count/2]\r\n", m->pMax);
		Print("- Min Speed Timer Period: %d [count/2]\r\n", m->pMin);
		Print("- Constant Value A: %.4le\r\n", m->A);
		Print("- Constant Value B: %.4le\r\n", m->B);
		Print("- Constant Value Bp: %.4le\r\n\r\n", m->Bp);

		Motor_PWR(i, 0);
		Motor_CS(i, 0);
		Motor_INH(i, 0);
		Motor_DIR(i, 0);
		Motor_OFF(i, 1);
	}

	HAL_TIM_Base_Start(&htim1);
	HAL_TIM_Base_Start_IT(&htim1);
	HAL_TIM_Base_Start(&htim5);

	strcpy(Op.cmd[0], "N1 G28*12");
	strcpy(Op.cmd[1], "N2 G90*12");
	strcpy(Op.cmd[2], "N3 G0 X-5 Y-5*2b");
	strcpy(Op.cmd[3], "N4 G91*15");
	strcpy(Op.cmd[4], "N5 G1 X10*54");
	strcpy(Op.cmd[5], "N6 G1 Y1*66");
	strcpy(Op.cmd[6], "N7 G1 X-10*7b");
	strcpy(Op.cmd[7], "N8 G1 Y1*68");
	strcpy(Op.cmd[8], "N9 G1 X10*58");
	strcpy(Op.cmd[9], "N10 G1 Y1*51");
	strcpy(Op.cmd[10], "N11 G1 X-10*4c");
	strcpy(Op.cmd[11], "N12 G1 Y1*53");
	strcpy(Op.cmd[12], "N13 G1 X10*63");
	strcpy(Op.cmd[13], "N14 G1 Y1*55");
	strcpy(Op.cmd[14], "N15 G1 X-10*48");
	strcpy(Op.cmd[15], "N16 G1 Y1*57");
	strcpy(Op.cmd[16], "N17 G1 X10*67");
	strcpy(Op.cmd[17], "N18 G1 Y1*59");
	strcpy(Op.cmd[18], "N19 G1 X-10*44");
	strcpy(Op.cmd[19], "N20 G1 Y1*52");
	strcpy(Op.cmd[20], "N21 G1 X10*62");
	strcpy(Op.cmd[21], "N22 G1 Y1*50");
	strcpy(Op.cmd[22], "N23 G1 X-10*4d");
	strcpy(Op.cmd[23], "N24 G1 Y1*56");
	Op.cmdLen = 24;

//	  HAL_TIM_OC_Start_IT(&htim1, TIM_CHANNEL_1);
//	  HAL_TIM_OC_Start_IT(&htim1, TIM_CHANNEL_2);
//	  HAL_TIM_OC_Start_IT(&htim1, TIM_CHANNEL_3);
//	  HAL_TIM_OC_Start_IT(&htim1, TIM_CHANNEL_4);

}

void Motor_Start(int ch)
{
	SysVar.m[ch].next_ccr = htim1.Instance->CNT + SysVar.m[ch].pulse;
	switch(ch)
	{
	case 0:
		htim1.Instance->CCR1 = SysVar.m[ch].next_ccr;
		HAL_TIM_OC_Start_IT(&htim1, TIM_CHANNEL_1);
	break;
	case 1:
		htim1.Instance->CCR2 = SysVar.m[ch].next_ccr;
		HAL_TIM_OC_Start_IT(&htim1, TIM_CHANNEL_2);
	break;
	case 2:
		htim1.Instance->CCR3 = SysVar.m[ch].next_ccr;
		HAL_TIM_OC_Start_IT(&htim1, TIM_CHANNEL_3);
	break;
	case 3:
		htim1.Instance->CCR4 = SysVar.m[ch].next_ccr;
		HAL_TIM_OC_Start_IT(&htim1, TIM_CHANNEL_4);
	break;
	}
}

void HAL_GPIO_EXTI_Callback(uint16_t GPIO_Pin)
{
	switch(GPIO_Pin)
	{
	case GPIO_PIN_0:
		if(Op.sens_origin)
			SysVar.m[0].stop = 1;
		Op.sens_lim |= SENS_LIM_HOME_CH1;
		//COMM_Print(&huart3, "SENS HOME CH1\r\n");
	break;
	case GPIO_PIN_1:
		if(Op.sens_origin)
			SysVar.m[1].stop = 1;
		Op.sens_lim |= SENS_LIM_HOME_CH2;
		//COMM_Print(&huart3, "SENS HOME CH2\r\n");
	break;
	case GPIO_PIN_2:
		if(Op.sens_origin)
			SysVar.m[2].stop = 1;
		Op.sens_lim |= SENS_LIM_HOME_CH3;
		//COMM_Print(&huart3, "SENS HOME CH3\r\n");
	break;
	case GPIO_PIN_3:
		if(Op.sens_origin)
			SysVar.m[3].stop = 1;
		Op.sens_lim |= SENS_LIM_HOME_CH4;
		//COMM_Print(&huart3, "SENS HOME CH4\r\n");
	break;
	case GPIO_PIN_4:
		SysVar.m[0].stop = 1;
		Op.sens_lim |= SENS_LIM_CW_CH1;
		//COMM_Print(&huart3, "SENS CW CH1\r\n");
	break;
	case GPIO_PIN_5:
		SysVar.m[1].stop = 1;
		Op.sens_lim |= SENS_LIM_CW_CH2;
		//COMM_Print(&huart3, "SENS CW CH2\r\n");
	break;
	case GPIO_PIN_6:
		SysVar.m[2].stop = 1;
		Op.sens_lim |= SENS_LIM_CW_CH3;
		//COMM_Print(&huart3, "SENS CW CH3\r\n");
	break;
	case GPIO_PIN_7:
		SysVar.m[3].stop = 1;
		Op.sens_lim |= SENS_LIM_CW_CH4;
		//COMM_Print(&huart3, "SENS CW CH4\r\n");
	break;
	case GPIO_PIN_8:
		SysVar.m[0].stop = 1;
		Op.sens_lim |= SENS_LIM_CCW_CH1;
		//COMM_Print(&huart3, "SENS CCW CH1\r\n");
	break;
	case GPIO_PIN_9:
		SysVar.m[1].stop = 1;
		Op.sens_lim |= SENS_LIM_CCW_CH2;
		//COMM_Print(&huart3, "SENS CCW CH2\r\n");
	break;
	case GPIO_PIN_10:
		SysVar.m[2].stop = 1;
		Op.sens_lim |= SENS_LIM_CCW_CH3;
		//COMM_Print(&huart3, "SENS CCW CH3\r\n");
	break;
	case GPIO_PIN_11:
		SysVar.m[3].stop = 1;
		Op.sens_lim |= SENS_LIM_CCW_CH4;
		//COMM_Print(&huart3, "SENS CCW CH4\r\n");
	break;
	case GPIO_PIN_12:
		//COMM_Print(&huart3, "MOTOR TIMING CH1\r\n");
	break;
	case GPIO_PIN_13:
		//COMM_Print(&huart3, "MOTOR TIMING CH2\r\n");
	break;
	case GPIO_PIN_14:
		//COMM_Print(&huart3, "MOTOR TIMING CH3\r\n");
	break;
	case GPIO_PIN_15:
		//COMM_Print(&huart3, "MOTOR TIMING CH4\r\n");
	break;
	}
}

void Motor_PWR(int ch, GPIO_PinState onoff)
{
	switch(ch)
	{
	case 0:
		HAL_GPIO_WritePin(GPIOD, GPIO_PIN_0, onoff);
	break;
	case 1:
		HAL_GPIO_WritePin(GPIOD, GPIO_PIN_1, onoff);
	break;
	case 2:
		HAL_GPIO_WritePin(GPIOD, GPIO_PIN_2, onoff);
	break;
	case 3:
		HAL_GPIO_WritePin(GPIOD, GPIO_PIN_3, onoff);
	break;
	}
}

void Motor_CS(int ch, GPIO_PinState onoff)
{
	switch(ch)
	{
	case 0:
		HAL_GPIO_WritePin(GPIOE, GPIO_PIN_0, onoff);
	break;
	case 1:
		HAL_GPIO_WritePin(GPIOE, GPIO_PIN_2, onoff);
	break;
	case 2:
		HAL_GPIO_WritePin(GPIOE, GPIO_PIN_3, onoff);
	break;
	case 3:
		HAL_GPIO_WritePin(GPIOE, GPIO_PIN_4, onoff);
	break;
	}
}

void Motor_INH(int ch, GPIO_PinState onoff)
{
	switch(ch)
	{
	case 0:
		HAL_GPIO_WritePin(GPIOE, GPIO_PIN_5, onoff);
	break;
	case 1:
		HAL_GPIO_WritePin(GPIOE, GPIO_PIN_6, onoff);
	break;
	case 2:
		HAL_GPIO_WritePin(GPIOE, GPIO_PIN_7, onoff);
	break;
	case 3:
		HAL_GPIO_WritePin(GPIOE, GPIO_PIN_8, onoff);
	break;
	}
}

void Motor_DIR(int ch, GPIO_PinState onoff)
{
	switch(ch)
	{
	case 0:
		HAL_GPIO_WritePin(GPIOD, GPIO_PIN_4, onoff);
	break;
	case 1:
		HAL_GPIO_WritePin(GPIOD, GPIO_PIN_6, onoff);
	break;
	case 2:
		HAL_GPIO_WritePin(GPIOD, GPIO_PIN_7, onoff);
	break;
	case 3:
		HAL_GPIO_WritePin(GPIOD, GPIO_PIN_11, onoff);
	break;
	}
}

void Motor_OFF(int ch, GPIO_PinState onoff)
{
	switch(ch)
	{
	case 0:
		HAL_GPIO_WritePin(GPIOD, GPIO_PIN_12, onoff);
	break;
	case 1:
		HAL_GPIO_WritePin(GPIOD, GPIO_PIN_13, onoff);
	break;
	case 2:
		HAL_GPIO_WritePin(GPIOD, GPIO_PIN_14, onoff);
	break;
	case 3:
		HAL_GPIO_WritePin(GPIOD, GPIO_PIN_15, onoff);
	break;
	}
}

void Print(const char *str, ...)
{
	char buffer[MAX_BUFFER_SIZE];
	va_list ap;
	size_t strSize;

	va_start(ap, str);
	vsprintf(buffer, str, ap);
	va_end(ap);

	strSize = strlen(buffer);
	HAL_UART_Transmit(&huart3, (uint8_t*)buffer, strSize, COMM_TIMEOUT);
}

/* USER CODE END 4 */

void Error_Handler(void)
{
  __disable_irq();
  while (1)
  {
  }
}
